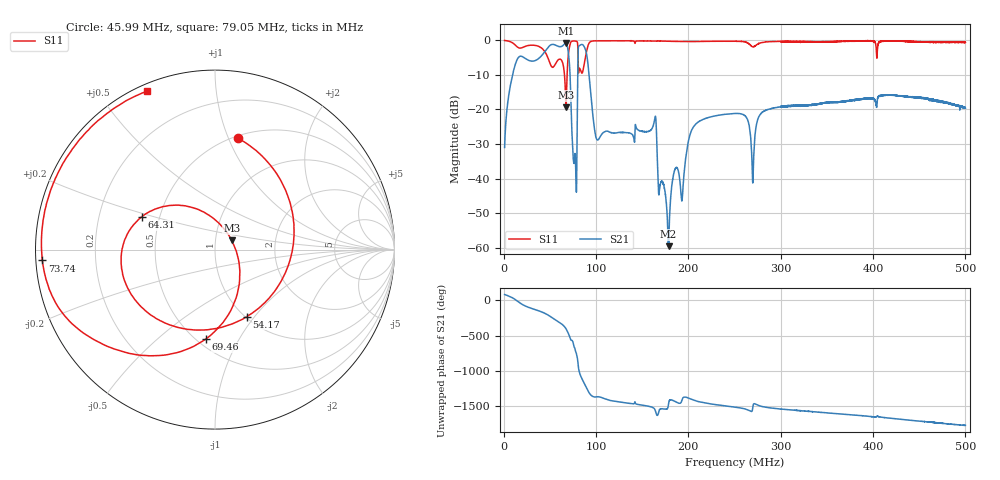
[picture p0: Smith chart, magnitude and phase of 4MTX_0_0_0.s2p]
! NanoVNA-App
! Date: 2026-08-18 20:40:02
! Start: 1MHz Stop: 500MHz Points: 6401
! S-Parameter data: F S11 S21 S12 S22
# Hz S RI R 50
!  Frequency  S11_Real  S11_Imag  S21_Real  S21_Imag  S12_Real  S12_Imag  S22_Real  S22_Imag
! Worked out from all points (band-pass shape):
!   6401 points, 1 MHz to 500 MHz, reference 50 ohm
!   highest |S21| = -0.87 dB at 67.2 MHz (marker M1); lowest = -59.5 dB at 178.5 MHz (marker M2)
!   |S21| within 3 dB of the highest: 42.92 MHz to 70.12 MHz (27.21 MHz wide, 48.1 % of centre); 80.57 MHz to 89.65 MHz (9.085 MHz wide, 10.7 % of centre)
!   lowest |S11| = -19.4 dB at 67.51 MHz (marker M3), VSWR 1.24, Z = 60 + j6.26 ohm
!   |S11| at or under -10 dB: 65.83 MHz to 68.69 MHz (2.867 MHz wide, 4.26 % of centre)
!   S12 and S22 are empty: the file has one direction only
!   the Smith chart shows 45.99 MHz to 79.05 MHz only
!   S11 on the Smith chart (normalised r, x): 45.99 MHz: 0.52, +1.08; 54.17 MHz: 1.02, -0.92; 64.31 MHz: 0.40, +0.18; 69.46 MHz: 0.55, -0.74; 73.74 MHz: 0.02, -0.03; 79.05 MHz: 0.03, +0.66
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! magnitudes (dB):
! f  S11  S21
! 1 MHz  -0.1  -31.0
! 14.49 MHz  -1.9  -5.6
! 45.99 MHz  -4.0  -2.8
! 54.17 MHz  -7.7  -1.3
! 64.31 MHz  -7.0  -1.5
! 67.2 MHz  -17.9  -0.9
! 67.51 MHz  -19.4  -0.9
! 69.46 MHz  -6.0  -2.6
! 73.74 MHz  -0.3  -25.7
! 76.86 MHz  -0.2  -34.2
! 79.05 MHz  -0.4  -40.1
! 84.19 MHz  -9.3  -1.3
! 101.1 MHz  -0.2  -28.8
! 162.9 MHz  -0.3  -23.6
! 167.4 MHz  -0.3  -42.5
! 178.5 MHz  -0.3  -59.5
! 205.5 MHz  -0.4  -25.1
! 250.5 MHz  -0.3  -21.2
! 269.8 MHz  -1.9  -41.2
! 333.7 MHz  -0.5  -18.6
! 416.9 MHz  -0.3  -15.8
! 500 MHz  -0.7  -19.7
